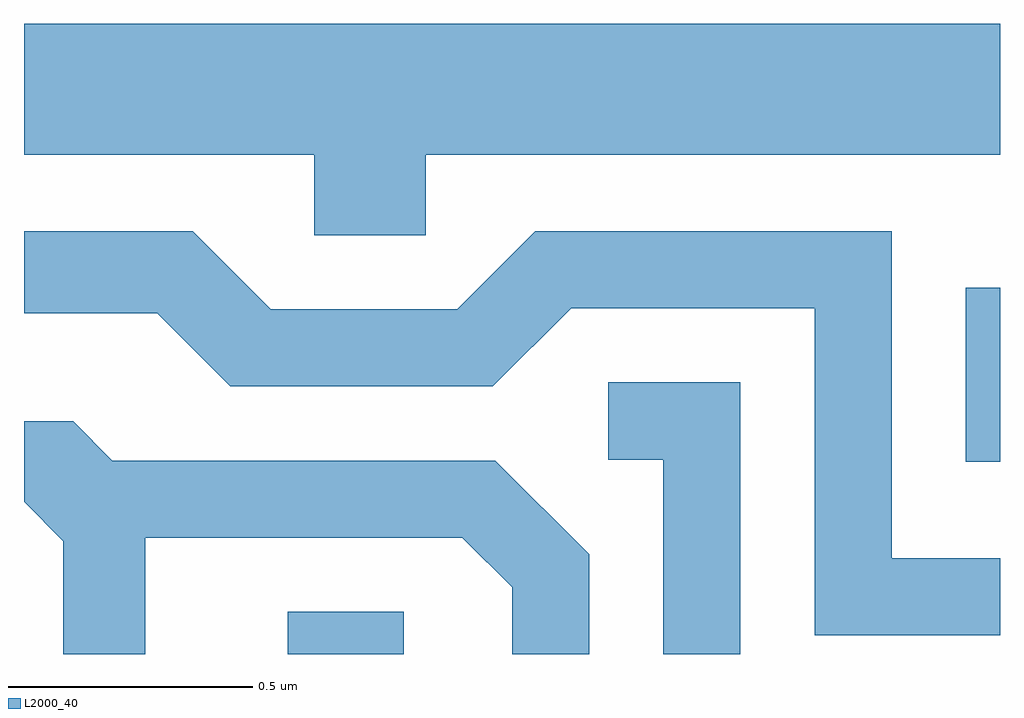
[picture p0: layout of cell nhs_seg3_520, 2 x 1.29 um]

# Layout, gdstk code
import gdstk
lib = gdstk.Library(unit=1e-6, precision=1e-09)
def R(c, l, rs):  # rectangles x0, y0, x1, y1
    for r in rs: c.add(gdstk.rectangle(r[:2], r[2:], *l))
def P(c, l, *ps):  # polygons
    for p in ps: c.add(gdstk.Polygon(p, *l))
L2000_40 = (2000, 40)

nhs_seg3_520 = lib.new_cell('nhs_seg3_520')
R(nhs_seg3_520, L2000_40, [(189.151,1224.892,189.389,1224.979), (190.541,1225.286,190.611,1225.643)])
P(nhs_seg3_520, L2000_40, [(189.434,1225.916),(190.611,1225.916),(190.611,1226.184),(188.611,1226.184),(188.611,1225.916),(189.206,1225.916),(189.206,1225.751),(189.434,1225.751)],
  [(190.611,1225.089),(190.389,1225.089),(190.389,1225.759),(189.659,1225.759),(189.499,1225.599),(189.117,1225.599),(188.957,1225.759),(188.611,1225.759),(188.611,1225.591),(188.884,1225.591),(189.034,1225.441),(189.572,1225.441),(189.732,1225.601),(190.231,1225.601),(190.231,1224.931),(190.611,1224.931)],
  [(190.079,1225.449),(189.808,1225.449),(189.808,1225.291),(189.921,1225.291),(189.921,1224.892),(190.079,1224.892)],
  [(188.859,1225.131),(189.509,1225.131),(189.611,1225.029),(189.611,1224.892),(189.769,1224.892),(189.769,1225.097),(189.577,1225.289),(188.792,1225.289),(188.712,1225.369),(188.611,1225.369),(188.611,1225.204),(188.691,1225.124),(188.691,1224.892),(188.859,1224.892)])

lib.write_gds('nhs_seg3_520.gds')
